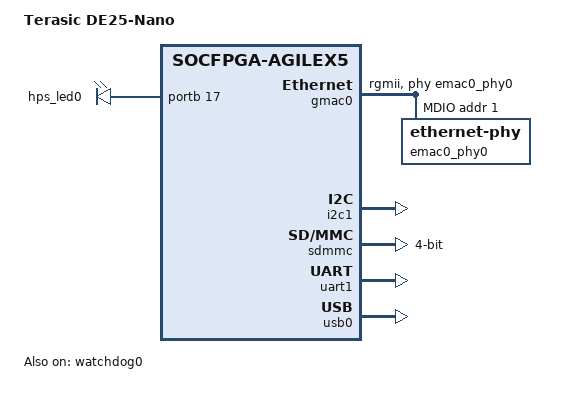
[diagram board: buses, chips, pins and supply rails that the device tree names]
// SPDX-License-Identifier: GPL-2.0-only
/*
 * Copyright (C) 2023, Intel Corporation
 * Copyright (C) 2026, Alexandra Østermark
 */
#include "socfpga_agilex5.dtsi"

/ {
	model = "Terasic DE25-Nano";
	compatible = "terasic,de25-nano", "intel,socfpga-agilex5";

	aliases {
		serial0 = &uart1;
		ethernet0 = &gmac0;
	};

	chosen {
		stdout-path = "serial0:115200n8";
	};

	leds {
		compatible = "gpio-leds";

		led-0 {
			label = "hps_led0";
			gpios = <&portb 17 GPIO_ACTIVE_HIGH>;
		};
	};

	memory@80000000 {
		device_type = "memory";
		/* We expect the bootloader to fill in the reg */
		reg = <0x0 0x80000000 0x0 0x0>;
	};
};

&gmac0 {
	/* TX/RX delays are on the PCB */
	phy-mode = "rgmii";
	phy-handle = <&emac0_phy0>;
	max-frame-size = <9000>;

	status = "okay";

	mdio0 {
		compatible = "snps,dwmac-mdio";
		#address-cells = <1>;
		#size-cells = <0>;

		emac0_phy0: ethernet-phy@1 {
			reg = <1>;
		};
	};
};

&gpio1 {
	status = "okay";
};

&i2c1 {
	status = "okay";
};

&osc1 {
	clock-frequency = <25000000>;
};

&qspi {
	/*
	 * The QSPI flash belongs to the SDM while the board boots from it (AS
	 * mode). With Terasic's U-Boot the HPS has no access: U-Boot "sf probe"
	 * fails and the cadence-qspi probe takes an SError. Terasic's own dts
	 * leaves the controller disabled. U-Boot (ft_board_setup) sets it okay
	 * when the SDM has handed the flash to the HPS.
	 */
	status = "disabled";

	flash@0 {
		compatible = "jedec,spi-nor";
		reg = <0>;
		spi-max-frequency = <100000000>;
		m25p,fast-read;
		cdns,read-delay = <2>;
		cdns,tshsl-ns = <50>;
		cdns,tsd2d-ns = <50>;
		cdns,tchsh-ns = <4>;
		cdns,tslch-ns = <4>;

		partitions {
			compatible = "fixed-partitions";
			#address-cells = <1>;
			#size-cells = <1>;

			partition@0 {
				label = "u-boot";
				reg = <0x0 0x01000000>;
			};
		};
	};
};

&sdmmc {
	bus-width = <4>;
	cap-sd-highspeed;
	disable-wp;
	no-1-8-v;
	no-mmc;
	no-sdio;

	status = "okay";
};

&smmu {
	status = "okay";
};

&uart1 {
	status = "okay";
};

&usb0 {
	disable-over-current;

	status = "okay";
};

&watchdog0 {
	status = "okay";
};
